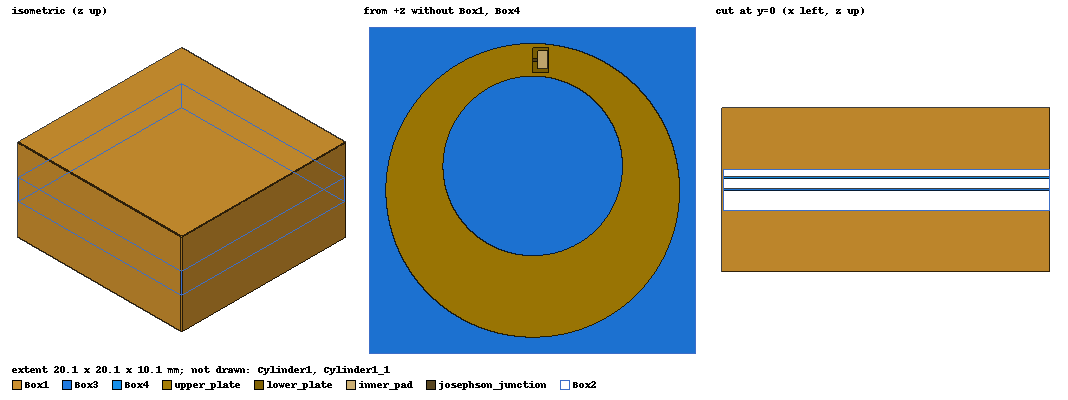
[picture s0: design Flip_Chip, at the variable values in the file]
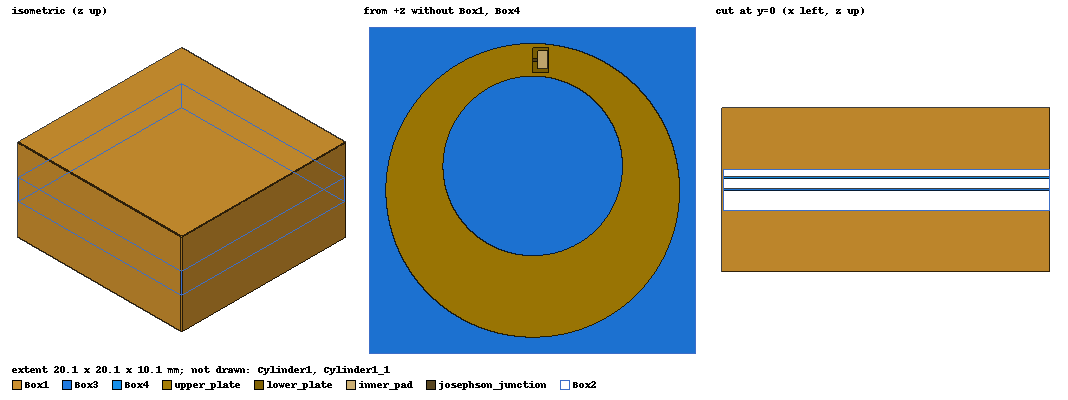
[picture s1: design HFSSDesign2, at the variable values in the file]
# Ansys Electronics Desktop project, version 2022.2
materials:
  vacuum: permittivity=1
  Al2_O3_ceramic: permittivity=9.8
  gallium_arsenide: permittivity=12.9
  perfect conductor: conductivity=1e+30
  sapphire: permittivity=10

design Flip_Chip (HFSS, Eigenmode, model units mm)
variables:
  pad_z = 10mm
  pad_x = 20mm
  pad_y = 20mm
  delta = 0.1mm
  shift = 1.5mm
  radius2 = 5.5mm
  radius1 = 9mm
  rect_x = 1mm
  epsilon = 0.5mm
  offset = 0.5mm
  offset_rect_pad = 0.2mm
  jj_y = 0.2mm
  radius3 = 1mm
  height = 3.75mm
  radius4 = 0.5mm
  Lj = 20nH
  Cj = 5pF
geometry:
  Box1 [perfect conductor] = box(corner=(-pad_x/2, -pad_y/2, -pad_z/2), size=(pad_x + delta, pad_y + delta, pad_z + delta))
  Box2 [vacuum] = box(corner=(-pad_x/2, -pad_y/2, -pad_z/8), size=(pad_x, pad_y, pad_z/4))
  Box2_1 = Box2.copy()
  Box1.subtract(Box2_1)
  upper_plate [Al2_O3_ceramic] = circle(normal=Z, centre=(0mm, 0mm, pad_z/8-epsilon), radius=radius1)
  Circle2 = circle(normal=Z, centre=(0mm, shift, pad_z/8-epsilon), radius=radius2)
  upper_plate.subtract(Circle2)
  Rectangle1 = rectangle(corner=(0, radius2 + shift + offset /2, pad_z/8-epsilon), x_size=rect_x, y_size=radius1-radius2-shift-offset)
  upper_plate.subtract(Rectangle1)
  Box3 [sapphire] = box(corner=(-pad_x/2, -pad_y/2, pad_z/16 - epsilon - epsilon/4), size=(pad_x, pad_y, epsilon/4))
  lower_plate [Al2_O3_ceramic] = circle(normal=Z, centre=(0mm, 0mm, (pad_z/16-epsilon)), radius=radius1)
  Circle4 = circle(normal=Z, centre=(0mm, shift, (pad_z/16-epsilon)), radius=radius2)
  lower_plate.subtract(Circle4)
  inner_pad [Al2_O3_ceramic] = rectangle(corner=(rect_x /2- offset_rect_pad, radius2 + shift + offset /2 + offset_rect_pad, pad_z/8-epsilon), x_size=rect_x - offset_rect_pad*2, y_size=radius1-radius2-shift-offset - offset_rect_pad*2)
  josephson_junction [gallium_arsenide] = rectangle(corner=(rect_x /2- offset_rect_pad, radius2 + shift + offset /2 + offset_rect_pad  +(radius1-radius2-shift-offset - offset_rect_pad*2)/2 - jj_y /2, pad_z/8-epsilon), x_size=-offset_rect_pad - offset_rect_pad/2, y_size=jj_y)
  Box4 [sapphire] = box(corner=(-pad_x/2, -pad_y/2, pad_z/16+epsilon/4), size=(pad_x, pad_y, epsilon/4))
  Cylinder1 [vacuum] = cylinder(axis=Z, base_centre=(0, -pad_y/4, -pad_z/2), radius=radius3, height=height)
  Cylinder2 [perfect conductor] = cylinder(axis=Z, base_centre=(0mm, -pad_y/4, -pad_z/2), radius=radius4, height=height)
  Cylinder2_1 = Cylinder2.copy()
  Cylinder1.subtract(Cylinder2_1)
  Cylinder1_1 [vacuum] = Cylinder1.duplicate_along_line(step=(0mm, 13mm, 0mm), total=2)
  Cylinder2_2 [perfect conductor] = Cylinder2.duplicate_along_line(step=(0mm, 13mm, 0mm), total=2)
  Circle5 = circle(normal=Z, centre=(0mm, -pad_y/4, -pad_z/2), radius=radius3)
  Circle6 = circle(normal=Z, centre=(0mm, -pad_y/4, -pad_z/2), radius=radius4)
  Circle5.subtract(Circle6)
  Circle5_1 = Circle5.duplicate_along_line(step=(0mm, 13mm, 0mm), total=2)
  Polyline1 = polyline((rect_x /2- offset_rect_pad, radius2 + shift + offset /2 + offset_rect_pad  +(radius1-radius2-shift-offset - offset_rect_pad*2)/2 + jj_y /16, pad_z/8-epsilon) (rect_x /2- offset_rect_pad  + (-offset_rect_pad - offset_rect_pad/2), radius2 + shift + offset /2 + offset_rect_pad  +(radius1-radius2-shift-offset - offset_rect_pad*2)/2 + jj_y /16, pad_z/8-epsilon))
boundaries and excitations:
  PerfE1: Perfect E Objects=upper_plate
  PerfE2: Perfect E Objects=inner_pad
  LumpRLC3: Lumped RLC Objects=Circle5 CurrentLine{(-150mm, -5480mm, -5000mm) -> (-200mm, -5970mm, -5000mm)} RLC_Type=Parallel Resistance=50ohm
  LumpRLC4: Lumped RLC Objects=josephson_junction CurrentLine{(0.3, 7.99, 0.75) -> (10mm, 8000mm, 750mm)} RLC_Type=Parallel Inductance=Lj Capacitance=Cj
  LumpRLC5: Lumped RLC Objects=Circle5_1 CurrentLine{(-150mm, 7520mm, -5000mm) -> (-200mm, 7030mm, -5000mm)} RLC_Type=Parallel Resistance=50ohm
  PerfE3: Perfect E Objects=lower_plate
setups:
  Setup1: HfssEigen MinimumFrequency=7.46269GHz NumModes=10 MaxDeltaFreq=10 ConvergeOnRealFreq=true MaximumPasses=10 MinimumPasses=1 MinimumConvergedPasses=1 PercentRefinement=30 BasisOrder=1
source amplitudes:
  #-10:1..#-10:9: 0 0deg
  #-10:10: 1 0deg
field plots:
  Mag_H1: H Field on Setup1 : LastAdaptive at Phase=0deg

design HFSSDesign2 (HFSS, DrivenModal, model units mm)
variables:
  pad_z = 10mm
  pad_y = 20mm
  pad_x = 20mm
  delta = 0.1mm
  shift = 1.5mm
  radius1 = 9mm
  rect_x = 1mm
  epsilon = 0.5mm
  radius2 = 5.5mm
  offset = 0.5mm
  offset_rect_pad = 0.2mm
  jj_y = 0.2mm
  radius3 = 1mm
  height = 3.75mm
  radius4 = 0.5mm
  Lj = 20nH
  Cj = 5pF
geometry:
  Box1 [perfect conductor] = box(corner=(-pad_x/2, -pad_y/2, -pad_z/2), size=(pad_x + delta, pad_y + delta, pad_z + delta))
  Box2 [vacuum] = box(corner=(-pad_x/2, -pad_y/2, -pad_z/8), size=(pad_x, pad_y, pad_z/4))
  Box2_1 = Box2.copy()
  Box1.subtract(Box2_1)
  upper_plate [Al2_O3_ceramic] = circle(normal=Z, centre=(0mm, 0mm, pad_z/8-epsilon), radius=radius1)
  Circle2 = circle(normal=Z, centre=(0mm, shift, pad_z/8-epsilon), radius=radius2)
  upper_plate.subtract(Circle2)
  Rectangle1 = rectangle(corner=(0, radius2 + shift + offset /2, pad_z/8-epsilon), x_size=rect_x, y_size=radius1-radius2-shift-offset)
  upper_plate.subtract(Rectangle1)
  Box3 [sapphire] = box(corner=(-pad_x/2, -pad_y/2, pad_z/16 - epsilon - epsilon/4), size=(pad_x, pad_y, epsilon/4))
  lower_plate [Al2_O3_ceramic] = circle(normal=Z, centre=(0mm, 0mm, (pad_z/16-epsilon)), radius=radius1)
  Circle4 = circle(normal=Z, centre=(0mm, shift, (pad_z/16-epsilon)), radius=radius2)
  lower_plate.subtract(Circle4)
  inner_pad [Al2_O3_ceramic] = rectangle(corner=(rect_x /2- offset_rect_pad, radius2 + shift + offset /2 + offset_rect_pad, pad_z/8-epsilon), x_size=rect_x - offset_rect_pad*2, y_size=radius1-radius2-shift-offset - offset_rect_pad*2)
  josephson_junction [gallium_arsenide] = rectangle(corner=(rect_x /2- offset_rect_pad, radius2 + shift + offset /2 + offset_rect_pad  +(radius1-radius2-shift-offset - offset_rect_pad*2)/2 - jj_y /2, pad_z/8-epsilon), x_size=-offset_rect_pad - offset_rect_pad/2, y_size=jj_y)
  Box4 [sapphire] = box(corner=(-pad_x/2, -pad_y/2, pad_z/16+epsilon/4), size=(pad_x, pad_y, epsilon/4))
  Cylinder1 [vacuum] = cylinder(axis=Z, base_centre=(0, -pad_y/4, -pad_z/2), radius=radius3, height=height)
  Cylinder2 [perfect conductor] = cylinder(axis=Z, base_centre=(0mm, -pad_y/4, -pad_z/2), radius=radius4, height=height)
  Cylinder2_1 = Cylinder2.copy()
  Cylinder1.subtract(Cylinder2_1)
  Cylinder1_1 [vacuum] = Cylinder1.duplicate_along_line(step=(0mm, 13mm, 0mm), total=2)
  Cylinder2_2 [perfect conductor] = Cylinder2.duplicate_along_line(step=(0mm, 13mm, 0mm), total=2)
  Circle5 = circle(normal=Z, centre=(0mm, -pad_y/4, -pad_z/2), radius=radius3)
  Circle6 = circle(normal=Z, centre=(0mm, -pad_y/4, -pad_z/2), radius=radius4)
  Circle5.subtract(Circle6)
  Circle5_1 = Circle5.duplicate_along_line(step=(0mm, 13mm, 0mm), total=2)
  Polyline1 = polyline((rect_x /2- offset_rect_pad, radius2 + shift + offset /2 + offset_rect_pad  +(radius1-radius2-shift-offset - offset_rect_pad*2)/2 + jj_y /16, pad_z/8-epsilon) (rect_x /2- offset_rect_pad  + (-offset_rect_pad - offset_rect_pad/2), radius2 + shift + offset /2 + offset_rect_pad  +(radius1-radius2-shift-offset - offset_rect_pad*2)/2 + jj_y /16, pad_z/8-epsilon))
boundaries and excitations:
  PerfE1: Perfect E Objects=upper_plate
  PerfE2: Perfect E Objects=inner_pad
  LumpRLC4: Lumped RLC Objects=josephson_junction CurrentLine{(0.3, 7.99, 0.75) -> (10mm, 8000mm, 750mm)} RLC_Type=Parallel Inductance=Lj Capacitance=Cj
  PerfE3: Perfect E Objects=lower_plate
  1: Lumped Port Objects=Circle5 Modes{Mode1{IntLine{(0, -4.5, -5) -> (0, -4, -5)} CharImp=Zpi RenormImp=50ohm}} Impedance=50ohm
  2: Lumped Port Objects=Circle5_1 Modes{Mode1{IntLine{(0, 7.5, -5) -> (0, 7, -5)} CharImp=Zpi RenormImp=50ohm}} Impedance=50ohm
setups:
  Setup2: HfssDriven Frequency=5GHz MaxDeltaS=0.02 MaximumPasses=10 MinimumPasses=1 MinimumConvergedPasses=1 PercentRefinement=30 BasisOrder=1 PortAccuracy=2 DrivenSolverType="Direct Solver"
    sweep Sweep: 0GHz to 15GHz, 401 points; Type=Interpolating InterpTolerance=0.5 InterpMaxSolns=250 MinSolvedFreq=0.01GHz InterpUsePortImped=false PassivityErrorTolerance=0.0001
    sweep Sweep1: 2.5GHz to 7.5GHz, 401 points; Type=Fast SaveFields
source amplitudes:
  1:1: 1W 0deg
  2:1: 0W 0deg
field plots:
  Mag_H1: H Field on Setup2 : LastAdaptive at Freq=5GHz Phase=0deg
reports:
  S Parameter Plot 1: dB(S(1,1)), dB(S(2,1)), dB(S(1,2)), dB(S(2,2)) vs Freq on Setup2 : Sweep; markers m1 at 4.8375GHz, m2 at 4.8GHz, m3 at 4.875GHz, m4 at 4.7625GHz, m5 at 5.2125GHz, m6 at 5.25GHz, m7 at 5.2875GHz, m8 at 5.325GHz, m9 at 5.3625GHz, m10 at 5.4GHz, m11 at 5.5875GHz, m12 at 5.625GHz, m13 at 5.6625GHz, m14 at 5.7GHz, m15 at 5.7375GHz, m16 at 6.15GHz
